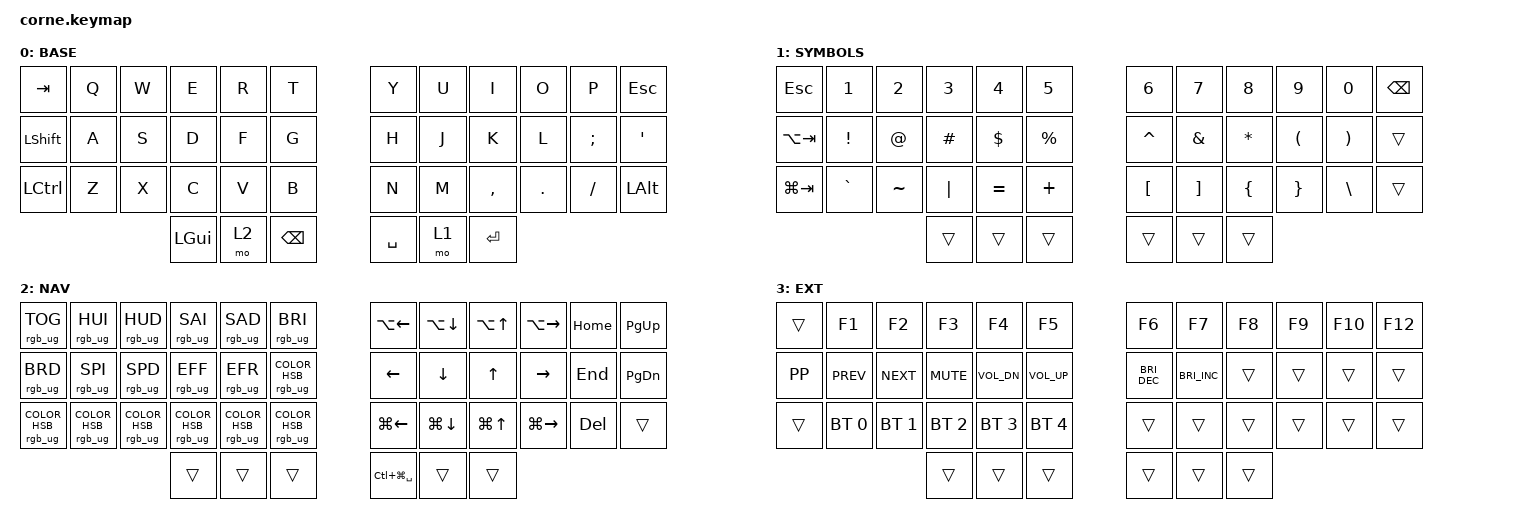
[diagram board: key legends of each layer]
#include <behaviors.dtsi>
#include <dt-bindings/zmk/bt.h>
#include <dt-bindings/zmk/keys.h>
#include <dt-bindings/zmk/rgb.h>

&led_strip { chain-length = <27>; };

#define TAPPING_TERM 200

/ {
    behaviors {
        /*
    * td_lock groups locking functions into one key:
    *  - tap once to lock the host
    *  - tap twice to put the host to sleep
    */

        td_lock: tap_dance_lock {
            compatible = "zmk,behavior-tap-dance";
            label = "TAP_DANCE_LOCK";
            #binding-cells = <0>;
            tapping-term-ms = <TAPPING_TERM>;
            bindings = <&kp LG(LC(Q))>, <&kp LG(LA(C_EJECT))>;
        };
    };

    combos {
        compatible = "zmk,combos";

        Clear_BLE_Profile {
            bindings = <&bt BT_CLR>;
            key-positions = <0 38 5>;
        };

        Space {
            bindings = <&kp SPACE>;
            key-positions = <29 28>;
        };

        Enter {
            bindings = <&kp ENTER>;
            key-positions = <17 16>;
        };

        Capslock {
            bindings = <&kp CLCK>;
            key-positions = <5 6>;
        };
    };

    macros {
        git_status: git_status {
            compatible = "zmk,behavior-macro";
            #binding-cells = <0>;
            bindings = <&kp G &kp I &kp T &kp SPACE &kp S &kp T &kp A &kp T &kp U &kp S>;
            label = "GIT_STATUS";
        };

        git_commit_all: git_commit_all {
            compatible = "zmk,behavior-macro";
            #binding-cells = <0>;
            bindings = <&kp G &kp I &kp T &kp SPACE &kp C &kp O &kp M &kp M &kp I &kp T &kp SPACE &kp MINUS &kp A &kp MINUS &kp M &kp SPACE &kp DQT &kp DQT &kp LEFT_ARROW>;
            label = "GIT_COMMIT";
        };
    };

    keymap {
        compatible = "zmk,keymap";

        base_layer {
            label = "BASE";
            bindings = <
&kp TAB           &kp Q  &kp W  &kp E         &kp R  &kp T       &kp Y      &kp U  &kp I      &kp O    &kp P      &kp ESC
&kp LSHIFT        &kp A  &kp S  &kp D         &kp F  &kp G       &kp H      &kp J  &kp K      &kp L    &kp SEMI   &kp SINGLE_QUOTE
&kp LEFT_CONTROL  &kp Z  &kp X  &kp C         &kp V  &kp B       &kp N      &kp M  &kp COMMA  &kp DOT  &kp SLASH  &kp LEFT_ALT
                                &kp LEFT_GUI  &mo 2  &kp BSPC    &kp SPACE  &mo 1  &kp ENTER
            >;
        };

        symbols_layer {
            label = "SYMBOLS";
            bindings = <
&kp ESC      &kp N1     &kp N2     &kp N3    &kp N4     &kp N5       &kp N6            &kp N7             &kp N8          &kp N9           &kp N0         &kp BACKSPACE
&kp LA(TAB)  &kp EXCL   &kp AT     &kp HASH  &kp DLLR   &kp PRCNT    &kp CARET         &kp AMPS           &kp ASTERISK    &kp LPAR         &kp RPAR       &trans
&kp LG(TAB)  &kp GRAVE  &kp TILDE  &kp PIPE  &kp EQUAL  &kp PLUS     &kp LEFT_BRACKET  &kp RIGHT_BRACKET  &kp LEFT_BRACE  &kp RIGHT_BRACE  &kp BACKSLASH  &trans
                                   &trans    &trans     &trans       &trans            &trans             &trans
            >;
        };

        nav_layer {
            label = "NAV";
            bindings = <
&rgb_ug RGB_TOG                  &rgb_ug RGB_HUI                   &rgb_ug RGB_HUD                   &rgb_ug RGB_SAI                   &rgb_ug RGB_SAD                   &rgb_ug RGB_BRI                     &kp LA(LEFT)       &kp LA(DOWN)  &kp LA(UP)  &kp LA(RIGHT)  &kp HOME  &kp PAGE_UP
&rgb_ug RGB_BRD                  &rgb_ug RGB_SPI                   &rgb_ug RGB_SPD                   &rgb_ug RGB_EFF                   &rgb_ug RGB_EFR                   &rgb_ug RGB_COLOR_HSB(0,96,48)      &kp LEFT           &kp DOWN      &kp UP      &kp RIGHT      &kp END   &kp PAGE_DOWN
&rgb_ug RGB_COLOR_HSB(35,98,51)  &rgb_ug RGB_COLOR_HSB(55,100,53)  &rgb_ug RGB_COLOR_HSB(287,91,52)  &rgb_ug RGB_COLOR_HSB(305,91,54)  &rgb_ug RGB_COLOR_HSB(188,88,55)  &rgb_ug RGB_COLOR_HSB(101,85,48)    &kp LG(LEFT)       &kp LG(DOWN)  &kp LG(UP)  &kp LG(RIGHT)  &kp DEL   &trans
                                                                                                     &trans                            &trans                            &trans                              &kp LC(LG(SPACE))  &trans        &trans
            >;
        };

        extended_layer {
            label = "EXT";
            bindings = <
&trans    &kp F1        &kp F2        &kp F3        &kp F4        &kp F5          &kp F6                &kp F7                &kp F8  &kp F9  &kp F10  &kp F12
&kp K_PP  &kp K_PREV    &kp K_NEXT    &kp K_MUTE    &kp C_VOL_DN  &kp C_VOL_UP    &kp C_BRIGHTNESS_DEC  &kp C_BRIGHTNESS_INC  &trans  &trans  &trans   &trans
&trans    &bt BT_SEL 0  &bt BT_SEL 1  &bt BT_SEL 2  &bt BT_SEL 3  &bt BT_SEL 4    &trans                &trans                &trans  &trans  &trans   &trans
                                      &trans        &trans        &trans          &trans                &trans                &trans
            >;
        };
    };

    conditional_layers {
        compatible = "zmk,conditional-layers";

        Activate_EXT {
            if-layers = <1 2>;
            then-layer = <3>;
        };
    };
};
